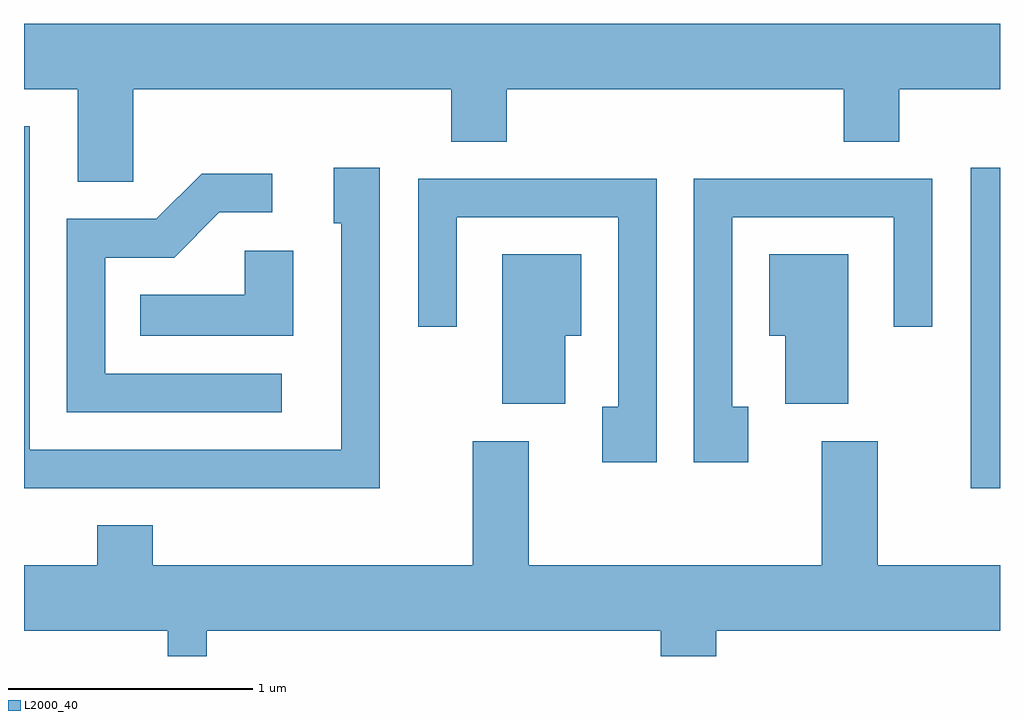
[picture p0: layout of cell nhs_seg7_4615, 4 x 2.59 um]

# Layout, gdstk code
import gdstk
lib = gdstk.Library(unit=1e-6, precision=1e-09)
def R(c, l, rs):  # rectangles x0, y0, x1, y1
    for r in rs: c.add(gdstk.rectangle(r[:2], r[2:], *l))
def P(c, l, *ps):  # polygons
    for p in ps: c.add(gdstk.Polygon(p, *l))
L2000_40 = (2000, 40)

nhs_seg7_4615 = lib.new_cell('nhs_seg7_4615')
R(nhs_seg7_4615, L2000_40, [(331.491,1674.941,331.611,1676.254)])
P(nhs_seg7_4615, L2000_40, [(328.059,1676.576),(329.361,1676.576),(329.361,1676.361),(329.589,1676.361),(329.589,1676.576),(330.971,1676.576),(330.971,1676.361),(331.199,1676.361),(331.199,1676.576),(331.611,1676.576),(331.611,1676.844),(327.611,1676.844),(327.611,1676.576),(327.831,1676.576),(327.831,1676.196),(328.059,1676.196)],
  [(329.069,1676.254),(328.881,1676.254),(328.881,1676.026),(328.911,1676.026),(328.911,1675.099),(327.634,1675.099),(327.634,1676.424),(327.611,1676.424),(327.611,1674.941),(329.069,1674.941)],
  [(328.668,1675.409),(327.944,1675.409),(327.944,1675.886),(328.227,1675.886),(328.412,1676.071),(328.628,1676.071),(328.628,1676.229),(328.339,1676.229),(328.154,1676.044),(327.786,1676.044),(327.786,1675.251),(328.668,1675.251)],
  [(330.579,1675.274),(330.514,1675.274),(330.514,1676.051),(331.176,1676.051),(331.176,1675.603),(331.334,1675.603),(331.334,1676.209),(330.356,1676.209),(330.356,1675.046),(330.579,1675.046)],
  [(330.204,1676.209),(329.226,1676.209),(329.226,1675.603),(329.384,1675.603),(329.384,1676.051),(330.046,1676.051),(330.046,1675.274),(329.981,1675.274),(329.981,1675.046),(330.204,1675.046)],
  [(328.714,1675.914),(328.516,1675.914),(328.516,1675.734),(328.088,1675.734),(328.088,1675.566),(328.714,1675.566)],
  [(329.829,1675.566),(329.894,1675.566),(329.894,1675.899),(329.571,1675.899),(329.571,1675.286),(329.829,1675.286)],
  [(330.989,1675.899),(330.666,1675.899),(330.666,1675.566),(330.731,1675.566),(330.731,1675.286),(330.989,1675.286)],
  [(328.359,1674.356),(330.221,1674.356),(330.221,1674.252),(330.449,1674.252),(330.449,1674.356),(331.611,1674.356),(331.611,1674.624),(331.109,1674.624),(331.109,1675.134),(330.881,1675.134),(330.881,1674.624),(329.679,1674.624),(329.679,1675.134),(329.451,1675.134),(329.451,1674.624),(328.139,1674.624),(328.139,1674.789),(327.911,1674.789),(327.911,1674.624),(327.611,1674.624),(327.611,1674.356),(328.201,1674.356),(328.201,1674.252),(328.359,1674.252)])

lib.write_gds('nhs_seg7_4615.gds')
